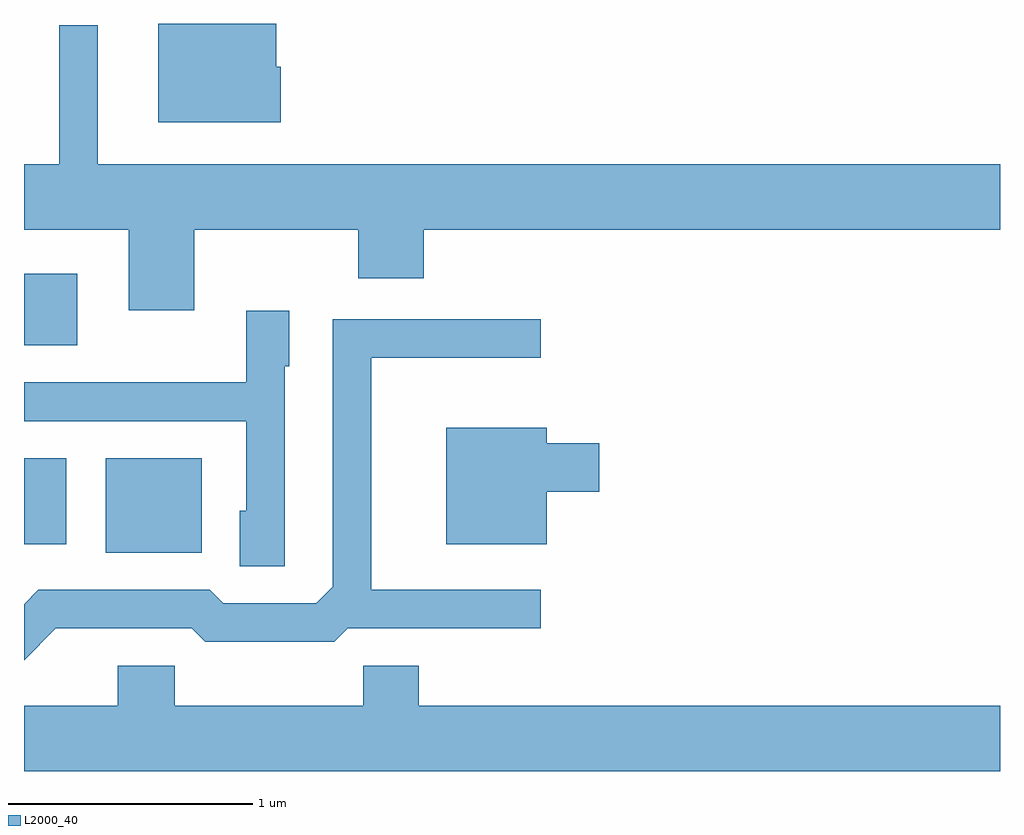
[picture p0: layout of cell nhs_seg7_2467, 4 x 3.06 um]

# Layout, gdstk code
import gdstk
lib = gdstk.Library(unit=1e-6, precision=1e-09)
def R(c, l, rs):  # rectangles x0, y0, x1, y1
    for r in rs: c.add(gdstk.rectangle(r[:2], r[2:], *l))
def P(c, l, *ps):  # polygons
    for p in ps: c.add(gdstk.Polygon(p, *l))
L2000_40 = (2000, 40)

nhs_seg7_2467 = lib.new_cell('nhs_seg7_2467')
R(nhs_seg7_2467, L2000_40, [(259.946,1804.011,260.339,1804.399), (259.611,1804.046,259.784,1804.399), (259.611,1804.861,259.829,1805.154)])
P(nhs_seg7_2467, L2000_40, [(260.664,1806.004),(260.644,1806.004),(260.644,1806.179),(260.161,1806.179),(260.161,1805.776),(260.664,1805.776)],
  [(260.309,1805.336),(260.981,1805.336),(260.981,1805.136),(261.249,1805.136),(261.249,1805.336),(263.611,1805.336),(263.611,1805.604),(259.914,1805.604),(259.914,1806.173),(259.756,1806.173),(259.756,1805.604),(259.611,1805.604),(259.611,1805.336),(260.041,1805.336),(260.041,1805.006),(260.309,1805.006)],
  [(260.679,1804.776),(260.699,1804.776),(260.699,1805.004),(260.521,1805.004),(260.521,1804.709),(259.611,1804.709),(259.611,1804.551),(260.521,1804.551),(260.521,1804.184),(260.496,1804.184),(260.496,1803.956),(260.679,1803.956)],
  [(259.742,1803.701),(260.299,1803.701),(260.354,1803.646),(260.882,1803.646),(260.937,1803.701),(261.728,1803.701),(261.728,1803.859),(261.034,1803.859),(261.034,1804.811),(261.728,1804.811),(261.728,1804.969),(260.876,1804.969),(260.876,1803.872),(260.808,1803.804),(260.427,1803.804),(260.372,1803.859),(259.669,1803.859),(259.611,1803.801),(259.611,1803.57)],
  [(261.754,1804.261),(261.969,1804.261),(261.969,1804.459),(261.754,1804.459),(261.754,1804.524),(261.341,1804.524),(261.341,1804.046),(261.754,1804.046)],
  [(263.611,1803.384),(261.229,1803.384),(261.229,1803.549),(261.001,1803.549),(261.001,1803.384),(260.229,1803.384),(260.229,1803.549),(259.996,1803.549),(259.996,1803.384),(259.611,1803.384),(259.611,1803.116),(263.611,1803.116)])

lib.write_gds('nhs_seg7_2467.gds')
